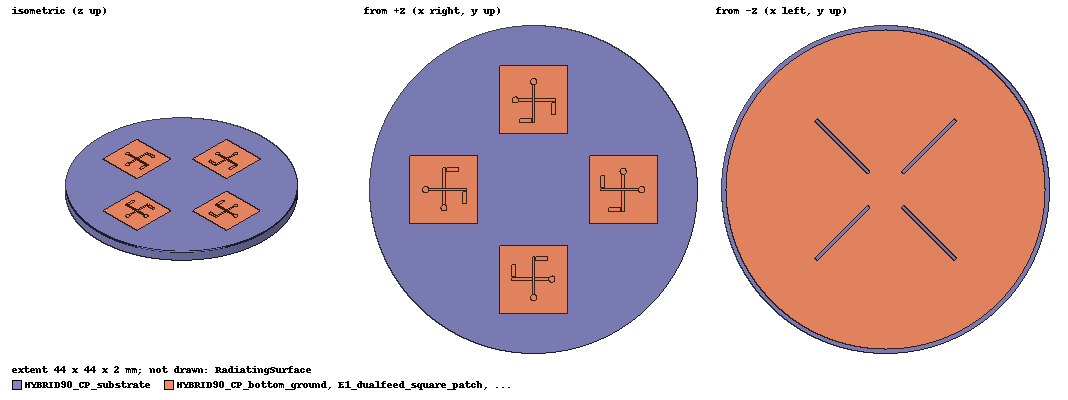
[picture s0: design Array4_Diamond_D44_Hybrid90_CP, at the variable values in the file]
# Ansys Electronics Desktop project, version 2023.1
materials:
  vacuum: permittivity=1
  RO4350B_custom_D44_Topology: permittivity=3.48 permeability=1 dielectric_loss_tangent=0.0037
  copper: permeability=0.999991 conductivity=58000000
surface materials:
  Steel-oxidised-surface

design Array4_Diamond_D44_Hybrid90_CP (HFSS, HFSS Modal Network, model units mm)
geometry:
  HYBRID90_CP_substrate [RO4350B_custom_D44_Topology] = cylinder(axis=Z, base_centre=(0mm, 0mm, 0mm), radius=22mm, height=2mm, segments=128)
  HYBRID90_CP_bottom_ground [copper] = circle(normal=Z, centre=(0mm, 0mm, 0mm), radius=21.4mm, segments=128)
  ground_isolation_slot_1 = polyline(z=0mm, xy in mm: (2.4112341, 2.1142493) (9.4823019, 9.1853171) (9.1853171, 9.4823019) (2.1142493, 2.4112341) (2.4112341, 2.1142493), closed, covered)
  ground_isolation_slot_2 = polyline(z=0mm, xy in mm: (-2.1142493, 2.4112341) (-9.1853171, 9.4823019) (-9.4823019, 9.1853171) (-2.4112341, 2.1142493) (-2.1142493, 2.4112341), closed, covered)
  ground_isolation_slot_3 = polyline(z=0mm, xy in mm: (-2.4112341, -2.1142493) (-9.4823019, -9.1853171) (-9.1853171, -9.4823019) (-2.1142493, -2.4112341) (-2.4112341, -2.1142493), closed, covered)
  ground_isolation_slot_4 = polyline(z=0mm, xy in mm: (2.1142493, -2.4112341) (9.1853171, -9.4823019) (9.4823019, -9.1853171) (2.4112341, -2.1142493) (2.1142493, -2.4112341), closed, covered)
  E1_dualfeed_square_patch [copper] = polyline(z=2mm, xy in mm: (7.4458153, -4.575) (16.595815, -4.575) (16.595815, 4.575) (7.4458153, 4.575) (7.4458153, -4.575), closed, covered)
  P1A_feed_pad [copper] = circle(normal=Z, centre=(14.470815mm, 0mm, 2mm), radius=0.42mm, segments=36)
  P1A_lumped_port_sheet = polyline(x=14.470815mm, yz in mm: (-0.35, 0) (0.35, 0) (0.35, 2) (-0.35, 2) (-0.35, 0), closed, covered)
  P1B_feed_pad [copper] = circle(normal=Z, centre=(12.020815mm, 2.45mm, 2mm), radius=0.42mm, segments=36)
  P1B_lumped_port_sheet = polyline(x=12.020815mm, yz in mm: (2.1, 0) (2.8, 0) (2.8, 2) (2.1, 2) (2.1, 0), closed, covered)
  E1_hybrid_trace_a [copper] = polyline(z=2mm, xy in mm: (9.0208153, -0.16) (14.470815, -0.16) (14.470815, 0.16) (9.0208153, 0.16) (9.0208153, -0.16), closed, covered)
  E1_hybrid_trace_b [copper] = polyline(z=2mm, xy in mm: (11.860815, -3) (12.180815, -3) (12.180815, 2.45) (11.860815, 2.45) (11.860815, -3), closed, covered)
  E1_hybrid_quarter_stub_a [copper] = polyline(z=2mm, xy in mm: (9.0208153, 0.32) (9.5708153, 0.32) (9.5708153, 1.92) (9.0208153, 1.92) (9.0208153, 0.32), closed, covered)
  E1_hybrid_quarter_stub_b [copper] = polyline(z=2mm, xy in mm: (10.100815, -3) (11.700815, -3) (11.700815, -2.45) (10.100815, -2.45) (10.100815, -3), closed, covered)
  E2_dualfeed_square_patch [copper] = polyline(z=2mm, xy in mm: (4.575, 7.4458153) (4.575, 16.595815) (-4.575, 16.595815) (-4.575, 7.4458153) (4.575, 7.4458153), closed, covered)
  P2A_feed_pad [copper] = circle(normal=Z, centre=(8.8608188e-16mm, 14.470815mm, 2mm), radius=0.42mm, segments=36)
  P2A_lumped_port_sheet = polyline(y=14.470815mm, xz in mm: (0.35, 0) (-0.35, 0) (-0.35, 2) (0.35, 2) (0.35, 0), closed, covered)
  P2B_feed_pad [copper] = circle(normal=Z, centre=(-2.45mm, 12.020815mm, 2mm), radius=0.42mm, segments=36)
  P2B_lumped_port_sheet = polyline(y=12.020815mm, xz in mm: (-2.1, 0) (-2.8, 0) (-2.8, 2) (-2.1, 2) (-2.1, 0), closed, covered)
  E2_hybrid_trace_a [copper] = polyline(z=2mm, xy in mm: (0.16, 9.0208153) (0.16, 14.470815) (-0.16, 14.470815) (-0.16, 9.0208153) (0.16, 9.0208153), closed, covered)
  E2_hybrid_trace_b [copper] = polyline(z=2mm, xy in mm: (3, 11.860815) (3, 12.180815) (-2.45, 12.180815) (-2.45, 11.860815) (3, 11.860815), closed, covered)
  E2_hybrid_quarter_stub_a [copper] = polyline(z=2mm, xy in mm: (-0.32, 9.0208153) (-0.32, 9.5708153) (-1.92, 9.5708153) (-1.92, 9.0208153) (-0.32, 9.0208153), closed, covered)
  E2_hybrid_quarter_stub_b [copper] = polyline(z=2mm, xy in mm: (3, 10.100815) (3, 11.700815) (2.45, 11.700815) (2.45, 10.100815) (3, 10.100815), closed, covered)
  E3_dualfeed_square_patch [copper] = polyline(z=2mm, xy in mm: (-7.4458153, 4.575) (-16.595815, 4.575) (-16.595815, -4.575) (-7.4458153, -4.575) (-7.4458153, 4.575), closed, covered)
  P3A_feed_pad [copper] = circle(normal=Z, centre=(-14.470815mm, 1.7721638e-15mm, 2mm), radius=0.42mm, segments=36)
  P3A_lumped_port_sheet = polyline(x=-14.470815mm, yz in mm: (0.35, 0) (-0.35, 0) (-0.35, 2) (0.35, 2) (0.35, 0), closed, covered)
  P3B_feed_pad [copper] = circle(normal=Z, centre=(-12.020815mm, -2.45mm, 2mm), radius=0.42mm, segments=36)
  P3B_lumped_port_sheet = polyline(x=-12.020815mm, yz in mm: (-2.1, 0) (-2.8, 0) (-2.8, 2) (-2.1, 2) (-2.1, 0), closed, covered)
  E3_hybrid_trace_a [copper] = polyline(z=2mm, xy in mm: (-9.0208153, 0.16) (-14.470815, 0.16) (-14.470815, -0.16) (-9.0208153, -0.16) (-9.0208153, 0.16), closed, covered)
  E3_hybrid_trace_b [copper] = polyline(z=2mm, xy in mm: (-11.860815, 3) (-12.180815, 3) (-12.180815, -2.45) (-11.860815, -2.45) (-11.860815, 3), closed, covered)
  E3_hybrid_quarter_stub_a [copper] = polyline(z=2mm, xy in mm: (-9.0208153, -0.32) (-9.5708153, -0.32) (-9.5708153, -1.92) (-9.0208153, -1.92) (-9.0208153, -0.32), closed, covered)
  E3_hybrid_quarter_stub_b [copper] = polyline(z=2mm, xy in mm: (-10.100815, 3) (-11.700815, 3) (-11.700815, 2.45) (-10.100815, 2.45) (-10.100815, 3), closed, covered)
  E4_dualfeed_square_patch [copper] = polyline(z=2mm, xy in mm: (-4.575, -7.4458153) (-4.575, -16.595815) (4.575, -16.595815) (4.575, -7.4458153) (-4.575, -7.4458153), closed, covered)
  P4A_feed_pad [copper] = circle(normal=Z, centre=(-2.6582456e-15mm, -14.470815mm, 2mm), radius=0.42mm, segments=36)
  P4A_lumped_port_sheet = polyline(y=-14.470815mm, xz in mm: (-0.35, 0) (0.35, 0) (0.35, 2) (-0.35, 2) (-0.35, 0), closed, covered)
  P4B_feed_pad [copper] = circle(normal=Z, centre=(2.45mm, -12.020815mm, 2mm), radius=0.42mm, segments=36)
  P4B_lumped_port_sheet = polyline(y=-12.020815mm, xz in mm: (2.1, 0) (2.8, 0) (2.8, 2) (2.1, 2) (2.1, 0), closed, covered)
  E4_hybrid_trace_a [copper] = polyline(z=2mm, xy in mm: (-0.16, -9.0208153) (-0.16, -14.470815) (0.16, -14.470815) (0.16, -9.0208153) (-0.16, -9.0208153), closed, covered)
  E4_hybrid_trace_b [copper] = polyline(z=2mm, xy in mm: (-3, -11.860815) (-3, -12.180815) (2.45, -12.180815) (2.45, -11.860815) (-3, -11.860815), closed, covered)
  E4_hybrid_quarter_stub_a [copper] = polyline(z=2mm, xy in mm: (0.32, -9.0208153) (0.32, -9.5708153) (1.92, -9.5708153) (1.92, -9.0208153) (0.32, -9.0208153), closed, covered)
  E4_hybrid_quarter_stub_b [copper] = polyline(z=2mm, xy in mm: (-3, -10.100815) (-3, -11.700815) (-2.45, -11.700815) (-2.45, -10.100815) (-3, -10.100815), closed, covered)
  HYBRID90_CP_bottom_ground.subtract(ground_isolation_slot_1..ground_isolation_slot_4)
  RadiatingSurface [vacuum] = region(absolute_offset=14.285714mm on all sides)
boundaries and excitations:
  HYBRID90_CP_PEC_metallization: Perfect E Objects=[HYBRID90_CP_bottom_ground, E1_dualfeed_square_patch, P1A_feed_pad, P1B_feed_pad, E1_hybrid_trace_a, E1_hybrid_trace_b, E1_hybrid_quarter_stub_a, E1_hybrid_quarter_stub_b, E2_dualfeed_square_patch, P2A_feed_pad, P2B_feed_pad, E2_hybrid_trace_a, E2_hybrid_trace_b, E2_hybrid_quarter_stub_a, E2_hybrid_quarter_stub_b, E3_dualfeed_square_patch, P3A_feed_pad, P3B_feed_pad, E3_hybrid_trace_a, E3_hybrid_trace_b, E3_hybrid_quarter_stub_a, E3_hybrid_quarter_stub_b, E4_dualfeed_square_patch, P4A_feed_pad, P4B_feed_pad, E4_hybrid_trace_a, E4_hybrid_trace_b, E4_hybrid_quarter_stub_a, E4_hybrid_quarter_stub_b]
  Open1: Radiation Objects=RadiatingSurface
  P1A: Lumped Port Objects=P1A_lumped_port_sheet LumpedPortType=Modal Modes{Mode1{IntLine{(14.470815, 0, 2) -> (14.470815, 0, 0)} CharImp=Zpi RenormImp=50ohm}} Impedance=50ohm
  P1B: Lumped Port Objects=P1B_lumped_port_sheet LumpedPortType=Modal Modes{Mode1{IntLine{(12.020815, 2.45, 2) -> (12.020815, 2.45, 0)} CharImp=Zpi RenormImp=50ohm}} Impedance=50ohm
  P2A: Lumped Port Objects=P2A_lumped_port_sheet LumpedPortType=Modal Modes{Mode1{IntLine{(0, 14.470815, 2) -> (0, 14.470815, 0)} CharImp=Zpi RenormImp=50ohm}} Impedance=50ohm
  P2B: Lumped Port Objects=P2B_lumped_port_sheet LumpedPortType=Modal Modes{Mode1{IntLine{(-2.45, 12.020815, 2) -> (-2.45, 12.020815, 0)} CharImp=Zpi RenormImp=50ohm}} Impedance=50ohm
  P3A: Lumped Port Objects=P3A_lumped_port_sheet LumpedPortType=Modal Modes{Mode1{IntLine{(-14.470815, 0, 2) -> (-14.470815, 0, 0)} CharImp=Zpi RenormImp=50ohm}} Impedance=50ohm
  P3B: Lumped Port Objects=P3B_lumped_port_sheet LumpedPortType=Modal Modes{Mode1{IntLine{(-12.020815, -2.45, 2) -> (-12.020815, -2.45, 0)} CharImp=Zpi RenormImp=50ohm}} Impedance=50ohm
  P4A: Lumped Port Objects=P4A_lumped_port_sheet LumpedPortType=Modal Modes{Mode1{IntLine{(0, -14.470815, 2) -> (0, -14.470815, 0)} CharImp=Zpi RenormImp=50ohm}} Impedance=50ohm
  P4B: Lumped Port Objects=P4B_lumped_port_sheet LumpedPortType=Modal Modes{Mode1{IntLine{(2.45, -12.020815, 2) -> (2.45, -12.020815, 0)} CharImp=Zpi RenormImp=50ohm}} Impedance=50ohm
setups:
  Setup_CH9: HfssDriven Frequency=8GHz MaxDeltaS=0.05 MaximumPasses=4 MinimumPasses=1 MinimumConvergedPasses=1 PercentRefinement=30 BasisOrder=1 PortAccuracy=2 DrivenSolverType="Direct Solver"
    sweep Sweep_CH9: 7.738GHz to 8.233GHz, 3 points; Type=Discrete SaveFields SaveRadFields
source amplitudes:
  P1A:1: 1W 0deg
  P1B:1, P2A:1, P2B:1, P3A:1, P3B:1, P4A:1, P4B:1: 0W 0deg
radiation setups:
  3D: Infinite Sphere Theta=0deg..180deg step 2deg Phi=-180deg..180deg step 2deg
  Elevation: Infinite Sphere Theta=-180deg..180deg step 1deg Phi=0deg..90deg step 90deg
  Azimuth: Infinite Sphere Theta=90deg..90deg step 0deg Phi=-180deg..180deg step 1deg
  Upper_Hemisphere_5deg: Infinite Sphere Theta=0deg..360deg step 5deg Phi=0deg..90deg step 5deg
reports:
  HYBRID90_CP_S_Parameters: dB(S(P1B:1,P1B:1)), dB(S(P4A:1,P4A:1)), dB(S(P1A:1,P1A:1)), dB(S(P2B:1,P2B:1)), dB(S(P4B:1,P4B:1)), dB(S(P3A:1,P3A:1)), dB(S(P3B:1,P3B:1)), dB(S(P2A:1,P2A:1)), dB(S(P1B:1,P4A:1)), dB(S(P1B:1,P1A:1)), dB(S(P1B:1,P2B:1)), dB(S(P1B:1,P4B:1)), dB(S(P1B:1,P3A:1)), dB(S(P1B:1,P3B:1)), dB(S(P1B:1,P2A:1)), dB(S(P4A:1,P1B:1)), dB(S(P4A:1,P1A:1)), dB(S(P4A:1,P2B:1)), dB(S(P4A:1,P4B:1)), dB(S(P4A:1,P3A:1)), dB(S(P4A:1,P3B:1)), dB(S(P4A:1,P2A:1)), dB(S(P1A:1,P1B:1)), dB(S(P1A:1,P4A:1)), dB(S(P1A:1,P2B:1)), dB(S(P1A:1,P4B:1)), dB(S(P1A:1,P3A:1)), dB(S(P1A:1,P3B:1)), dB(S(P1A:1,P2A:1)), dB(S(P2B:1,P1B:1)), dB(S(P2B:1,P4A:1)), dB(S(P2B:1,P1A:1)), dB(S(P2B:1,P4B:1)), dB(S(P2B:1,P3A:1)), dB(S(P2B:1,P3B:1)), dB(S(P2B:1,P2A:1)), dB(S(P4B:1,P1B:1)), dB(S(P4B:1,P4A:1)), dB(S(P4B:1,P1A:1)), dB(S(P4B:1,P2B:1))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 vs Freq on Setup_CH9 : Sweep_CH9
  HYBRID90_CP_GainTotal_8GHz: dB(GainTotal) vs Phi, Theta on Setup_CH9 : Sweep_CH9, Upper_Hemisphere_5deg [Freq=8GHz]
  HYBRID90_CP_AxialRatio_8GHz: AxialRatioValue vs Phi, Theta on Setup_CH9 : Sweep_CH9, Upper_Hemisphere_5deg [Freq=8GHz]
